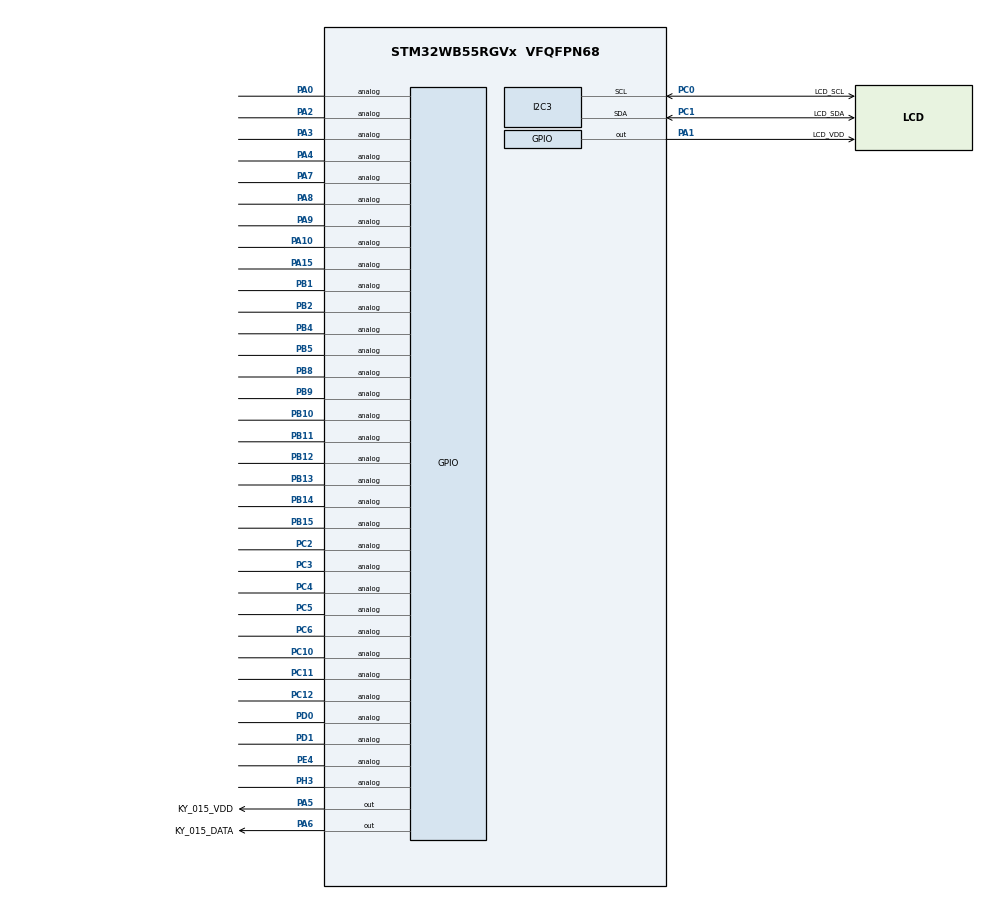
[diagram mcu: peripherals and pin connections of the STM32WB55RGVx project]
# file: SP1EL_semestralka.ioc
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I2C3.Timing=0x00B07CB4
LPTIM1.ClockPrescaler=LPTIM_PRESCALER_DIV32
LPTIM1.UpdateMode=LPTIM_UPDATE_IMMEDIATE
LPTIM2.ClockPrescaler=LPTIM_PRESCALER_DIV32
Mcu.Family=STM32WB
Mcu.Name=STM32WB55RGVx
Mcu.Package=VFQFPN68
NVIC.LPTIM1_IRQn=true\:0\:0\:false\:false\:true\:true\:true\:true
NVIC.PriorityGroup=NVIC_PRIORITYGROUP_4
OSC_IN.GPIO_Label=RCC_OSC_IN
OSC_IN.Signal=RCC_OSC_IN
OSC_OUT.GPIO_Label=RCC_OSC_OUT
OSC_OUT.Signal=RCC_OSC_OUT
P-NUCLEO-WB55-NUCLEO.LD2=true
P-NUCLEO-WB55-NUCLEO.VCP=true
PA0.Signal=GPIO_Analog
PA1.GPIO_Label=LCD_VDD
PA1.Signal=GPIO_Output
PA10.Signal=GPIO_Analog
PA11.GPIO_Label=USB_DM
PA11.Signal=USB_DM
PA12.GPIO_Label=USB_DP
PA12.Signal=USB_DP
PA13.GPIO_Label=JTMS
PA13.Signal=SYS_JTMS-SWDIO
PA14.GPIO_Label=JTCK
PA14.Signal=SYS_JTCK-SWCLK
PA15.Signal=GPIO_Analog
PA2.Signal=GPIO_Analog
PA3.Signal=GPIO_Analog
PA4.Signal=GPIO_Analog
PA5.GPIO_Label=KY_015_VDD
PA5.Signal=GPIO_Output
PA6.GPIO_Label=KY_015_DATA
PA6.GPIO_ModeDefaultOutputPP=GPIO_MODE_OUTPUT_OD
PA6.GPIO_PuPd=GPIO_PULLUP
PA6.Signal=GPIO_Output
PA7.Signal=GPIO_Analog
PA8.Signal=GPIO_Analog
PA9.Signal=GPIO_Analog
PB1.Signal=GPIO_Analog
PB10.Signal=GPIO_Analog
PB11.Signal=GPIO_Analog
PB12.Signal=GPIO_Analog
PB13.Signal=GPIO_Analog
PB14.Signal=GPIO_Analog
PB15.Signal=GPIO_Analog
PB2.Signal=GPIO_Analog
PB3.GPIO_Label=JTDO
PB3.Signal=SYS_JTDO-SWO
PB4.Signal=GPIO_Analog
PB5.Signal=GPIO_Analog
PB8.Signal=GPIO_Analog
PB9.Signal=GPIO_Analog
PC0.GPIO_Label=LCD_SCL
PC0.Mode=I2C
PC0.Signal=I2C3_SCL
PC1.GPIO_Label=LCD_SDA
PC1.Mode=I2C
PC1.Signal=I2C3_SDA
PC10.Signal=GPIO_Analog
PC11.Signal=GPIO_Analog
PC12.Signal=GPIO_Analog
PC13.GPIO_Label=SYS_WKUP2
PC13.Signal=SYS_WKUP2
PC14-OSC32_IN.GPIO_Label=RCC_OSC32_IN
PC14-OSC32_IN.Signal=RCC_OSC32_IN
PC15-OSC32_OUT.GPIO_Label=RCC_OSC32_OUT
PC15-OSC32_OUT.Signal=RCC_OSC32_OUT
PC2.Signal=GPIO_Analog
PC3.Signal=GPIO_Analog
PC4.Signal=GPIO_Analog
PC5.Signal=GPIO_Analog
PC6.Signal=GPIO_Analog
PD0.Signal=GPIO_Analog
PD1.Signal=GPIO_Analog
PE4.Signal=GPIO_Analog
PH3-BOOT0.Signal=GPIO_Analog
ProjectManager.HeapSize=0x200
ProjectManager.StackSize=0x400
ProjectManager.TargetToolchain=CMake
RCC.ADCFreq_Value=128000000
RCC.AHBFreq_Value=32000000
RCC.APB1Freq_Value=32000000
RCC.APB1TimCLKDivider=1
RCC.APB1TimFreq_Value=32000000
RCC.APB2Freq_Value=32000000
RCC.APB2TimFreq_Value=32000000
RCC.APB3Freq_Value=16000000
RCC.CortexFreq_Value=32000000
RCC.HCLKFreq_Value=32000000
RCC.HSE_VALUE=32000000
RCC.HSI48_VALUE=48000000
RCC.HSI_VALUE=16000000
RCC.LPTIM1CLockSelection=RCC_LPTIM1CLKSOURCE_LSI
RCC.LSE_VALUE=32768
RCC.MSIClockRange=RCC_MSIRANGE_10
RCC.SMPSCLockSelection=RCC_SMPSCLKSOURCE_HSI
RCC.SMPSCLockSelectionVirtual=RCC_SMPSCLKSOURCE_HSI
RCC.SMPSCLockSelectionVirtualVirtual=RCC_SMPSCLKSOURCE_HSI
RCC.SMPSDivider=1
RCC.SYSCLKFreq_VALUE=32000000
RCC.USBFreq_Value=128000000
RCC.VCOOutputFreq_Value=256000000
VP_LPTIM1_VS_LPTIM_counterModeInternalClock.Mode=Counts__internal_clock_event_00
VP_LPTIM2_VS_LPTIM_counterModeInternalClock.Mode=Counts__internal_clock_event_00
VP_MEMORYMAP_VS_MEMORYMAP.Mode=CurAppReg
VP_P-NUCLEO-WB55-NUCLEO_VS_BSP_COMMON.Mode=COMMON
board=P-NUCLEO-WB55-NUCLEO

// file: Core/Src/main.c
/* USER CODE BEGIN Header */
/**
 ******************************************************************************
 * @file           : main.c
 * @brief          : Main program body
 ******************************************************************************
 * @attention
 *
 * Copyright (c) 2026 STMicroelectronics.
 * All rights reserved.
 *
 * This software is licensed under terms that can be found in the LICENSE file
 * in the root directory of this software component.
 * If no LICENSE file comes with this software, it is provided AS-IS.
 *
 ******************************************************************************
 */
/* USER CODE END Header */
#include "main.h"

/* USER CODE BEGIN Includes */
#include "KY_015.h"
#include "lcd128_32.h"
#include "stm32wbxx_hal_lptim.h"
#include "stm32wbxx_hal_pwr_ex.h"

/* USER CODE END Includes */

COM_InitTypeDef BspCOMInit;
I2C_HandleTypeDef hi2c3;

LPTIM_HandleTypeDef hlptim1;
LPTIM_HandleTypeDef hlptim2;

/* USER CODE BEGIN PV */
volatile _Bool wakeup_flag = 1; // Flag pro indikaci, že se má číst DHT11 data
                                // (nastavuje se v EXTI handleru)
/* USER CODE END PV */

void SystemClock_Config(void);
void PeriphCommonClock_Config(void);
static void MX_GPIO_Init(void);
static void MX_LPTIM1_Init(void);
static void MX_I2C3_Init(void);
static void MX_LPTIM2_Init(void);

int main(void)
{

    /* MCU Configuration--------------------------------------------------------*/

    /* Reset of all peripherals, Initializes the Flash interface and the Systick. */
    HAL_Init();

    /* Configure the system clock */
    SystemClock_Config();

    /* Configure the peripherals common clocks */
    PeriphCommonClock_Config();

    /* Initialize all configured peripherals */
    MX_GPIO_Init();
    MX_LPTIM1_Init();
    MX_I2C3_Init();
    MX_LPTIM2_Init();
    /* USER CODE BEGIN 2 */
    HAL_LPTIM_Counter_Start_IT(&hlptim1, 30000); // 30s period for LPTIM1
    HAL_LPTIM_Counter_Start(&hlptim2, 0xFFFF);
    LCD_Init(&hi2c3);
    LCD_Clear(&hi2c3);
    /* USER CODE END 2 */

    /* Initialize leds */
    BSP_LED_Init(LED_GREEN);

    /* Initialize COM1 port (115200, 8 bits (7-bit data + 1 stop bit), no parity */
    BspCOMInit.BaudRate = 115200;
    BspCOMInit.WordLength = COM_WORDLENGTH_8B;
    BspCOMInit.StopBits = COM_STOPBITS_1;
    BspCOMInit.Parity = COM_PARITY_NONE;
    BspCOMInit.HwFlowCtl = COM_HWCONTROL_NONE;
    if (BSP_COM_Init(COM1, &BspCOMInit) != BSP_ERROR_NONE)
    {
        Error_Handler();
    }

    /* Infinite loop */
    /* USER CODE BEGIN WHILE */
    printf("COM ready\n");
    KY_015_Init();
    while (1)
    {
        if (wakeup_flag)
        {
            wakeup_flag = 0; // Reset flag
            KY_015_GetData();
            enter_STOP2_mode(); // Vstup do STOP2 režimu, čekáme na další přerušení z LPTIM1
        }
        /* USER CODE END WHILE */

    }
}

void SystemClock_Config(void)
{
    RCC_OscInitTypeDef RCC_OscInitStruct = {0};
    RCC_ClkInitTypeDef RCC_ClkInitStruct = {0};

    /** Configure the main internal regulator output voltage
     */
    __HAL_PWR_VOLTAGESCALING_CONFIG(PWR_REGULATOR_VOLTAGE_SCALE1);

    /** Initializes the RCC Oscillators according to the specified parameters
     * in the RCC_OscInitTypeDef structure.
     */
    RCC_OscInitStruct.OscillatorType = RCC_OSCILLATORTYPE_HSI | RCC_OSCILLATORTYPE_LSI1 | RCC_OSCILLATORTYPE_MSI;
    RCC_OscInitStruct.HSIState = RCC_HSI_ON;
    RCC_OscInitStruct.MSIState = RCC_MSI_ON;
    RCC_OscInitStruct.HSICalibrationValue = RCC_HSICALIBRATION_DEFAULT;
    RCC_OscInitStruct.MSICalibrationValue = RCC_MSICALIBRATION_DEFAULT;
    RCC_OscInitStruct.MSIClockRange = RCC_MSIRANGE_10;
    RCC_OscInitStruct.LSIState = RCC_LSI_ON;
    RCC_OscInitStruct.PLL.PLLState = RCC_PLL_NONE;
    if (HAL_RCC_OscConfig(&RCC_OscInitStruct) != HAL_OK)
    {
        Error_Handler();
    }

    /** Configure the SYSCLKSource, HCLK, PCLK1 and PCLK2 clocks dividers
     */
    RCC_ClkInitStruct.ClockType = RCC_CLOCKTYPE_HCLK4 | RCC_CLOCKTYPE_HCLK2 | RCC_CLOCKTYPE_HCLK |
                                  RCC_CLOCKTYPE_SYSCLK | RCC_CLOCKTYPE_PCLK1 | RCC_CLOCKTYPE_PCLK2;
    RCC_ClkInitStruct.SYSCLKSource = RCC_SYSCLKSOURCE_MSI;
    RCC_ClkInitStruct.AHBCLKDivider = RCC_SYSCLK_DIV1;
    RCC_ClkInitStruct.APB1CLKDivider = RCC_HCLK_DIV1;
    RCC_ClkInitStruct.APB2CLKDivider = RCC_HCLK_DIV1;
    RCC_ClkInitStruct.AHBCLK2Divider = RCC_SYSCLK_DIV1;
    RCC_ClkInitStruct.AHBCLK4Divider = RCC_SYSCLK_DIV1;

    if (HAL_RCC_ClockConfig(&RCC_ClkInitStruct, FLASH_LATENCY_1) != HAL_OK)
    {
        Error_Handler();
    }
}

void PeriphCommonClock_Config(void)
{
    RCC_PeriphCLKInitTypeDef PeriphClkInitStruct = {0};

    /** Initializes the peripherals clock
     */
    PeriphClkInitStruct.PeriphClockSelection = RCC_PERIPHCLK_SMPS;
    PeriphClkInitStruct.SmpsClockSelection = RCC_SMPSCLKSOURCE_HSI;
    PeriphClkInitStruct.SmpsDivSelection = RCC_SMPSCLKDIV_RANGE0;

    if (HAL_RCCEx_PeriphCLKConfig(&PeriphClkInitStruct) != HAL_OK)
    {
        Error_Handler();
    }
}

static void MX_I2C3_Init(void)
{

    hi2c3.Instance = I2C3;
    hi2c3.Init.Timing = 0x00B07CB4;
    hi2c3.Init.OwnAddress1 = 0;
    hi2c3.Init.AddressingMode = I2C_ADDRESSINGMODE_7BIT;
    hi2c3.Init.DualAddressMode = I2C_DUALADDRESS_DISABLE;
    hi2c3.Init.OwnAddress2 = 0;
    hi2c3.Init.OwnAddress2Masks = I2C_OA2_NOMASK;
    hi2c3.Init.GeneralCallMode = I2C_GENERALCALL_DISABLE;
    hi2c3.Init.NoStretchMode = I2C_NOSTRETCH_DISABLE;
    if (HAL_I2C_Init(&hi2c3) != HAL_OK)
    {
        Error_Handler();
    }

    /** Configure Analogue filter
     */
    if (HAL_I2CEx_ConfigAnalogFilter(&hi2c3, I2C_ANALOGFILTER_ENABLE) != HAL_OK)
    {
        Error_Handler();
    }

    /** Configure Digital filter
     */
    if (HAL_I2CEx_ConfigDigitalFilter(&hi2c3, 0) != HAL_OK)
    {
        Error_Handler();
    }
}

static void MX_LPTIM1_Init(void)
{

    hlptim1.Instance = LPTIM1;
    hlptim1.Init.Clock.Source = LPTIM_CLOCKSOURCE_APBCLOCK_LPOSC;
    hlptim1.Init.Clock.Prescaler = LPTIM_PRESCALER_DIV32;
    hlptim1.Init.Trigger.Source = LPTIM_TRIGSOURCE_SOFTWARE;
    hlptim1.Init.OutputPolarity = LPTIM_OUTPUTPOLARITY_HIGH;
    hlptim1.Init.UpdateMode = LPTIM_UPDATE_IMMEDIATE;
    hlptim1.Init.CounterSource = LPTIM_COUNTERSOURCE_INTERNAL;
    hlptim1.Init.Input1Source = LPTIM_INPUT1SOURCE_GPIO;
    hlptim1.Init.Input2Source = LPTIM_INPUT2SOURCE_GPIO;
    if (HAL_LPTIM_Init(&hlptim1) != HAL_OK)
    {
        Error_Handler();
    }
}

static void MX_LPTIM2_Init(void)
{

    hlptim2.Instance = LPTIM2;
    hlptim2.Init.Clock.Source = LPTIM_CLOCKSOURCE_APBCLOCK_LPOSC;
    hlptim2.Init.Clock.Prescaler = LPTIM_PRESCALER_DIV32;
    hlptim2.Init.Trigger.Source = LPTIM_TRIGSOURCE_SOFTWARE;
    hlptim2.Init.OutputPolarity = LPTIM_OUTPUTPOLARITY_HIGH;
    hlptim2.Init.UpdateMode = LPTIM_UPDATE_IMMEDIATE;
    hlptim2.Init.CounterSource = LPTIM_COUNTERSOURCE_INTERNAL;
    hlptim2.Init.Input1Source = LPTIM_INPUT1SOURCE_GPIO;
    hlptim2.Init.Input2Source = LPTIM_INPUT2SOURCE_GPIO;
    if (HAL_LPTIM_Init(&hlptim2) != HAL_OK)
    {
        Error_Handler();
    }
}

static void MX_GPIO_Init(void)
{
    GPIO_InitTypeDef GPIO_InitStruct = {0};

    /* GPIO Ports Clock Enable */
    __HAL_RCC_GPIOC_CLK_ENABLE();
    __HAL_RCC_GPIOH_CLK_ENABLE();
    __HAL_RCC_GPIOB_CLK_ENABLE();
    __HAL_RCC_GPIOA_CLK_ENABLE();
    __HAL_RCC_GPIOE_CLK_ENABLE();
    __HAL_RCC_GPIOD_CLK_ENABLE();

    /*Configure GPIO pin Output Level */
    HAL_GPIO_WritePin(GPIOA, LCD_VDD_Pin | KY_015_VDD_Pin | KY_015_DATA_Pin, GPIO_PIN_RESET);

    /*Configure GPIO pin : PH3 */
    GPIO_InitStruct.Pin = GPIO_PIN_3;
    GPIO_InitStruct.Mode = GPIO_MODE_ANALOG;
    GPIO_InitStruct.Pull = GPIO_NOPULL;
    HAL_GPIO_Init(GPIOH, &GPIO_InitStruct);

    /*Configure GPIO pins : PB8 PB9 PB2 PB10
                             PB11 PB1 PB12 PB13
                             PB14 PB15 PB4 PB5 */
    GPIO_InitStruct.Pin = GPIO_PIN_8 | GPIO_PIN_9 | GPIO_PIN_2 | GPIO_PIN_10 | GPIO_PIN_11 | GPIO_PIN_1 | GPIO_PIN_12 |
                          GPIO_PIN_13 | GPIO_PIN_14 | GPIO_PIN_15 | GPIO_PIN_4 | GPIO_PIN_5;
    GPIO_InitStruct.Mode = GPIO_MODE_ANALOG;
    GPIO_InitStruct.Pull = GPIO_NOPULL;
    HAL_GPIO_Init(GPIOB, &GPIO_InitStruct);

    /*Configure GPIO pins : PC2 PC3 PC4 PC5
                             PC6 PC10 PC11 PC12 */
    GPIO_InitStruct.Pin =
        GPIO_PIN_2 | GPIO_PIN_3 | GPIO_PIN_4 | GPIO_PIN_5 | GPIO_PIN_6 | GPIO_PIN_10 | GPIO_PIN_11 | GPIO_PIN_12;
    GPIO_InitStruct.Mode = GPIO_MODE_ANALOG;
    GPIO_InitStruct.Pull = GPIO_NOPULL;
    HAL_GPIO_Init(GPIOC, &GPIO_InitStruct);

    /*Configure GPIO pins : PA0 PA2 PA3 PA4
                             PA7 PA8 PA9 PA10
                             PA15 */
    GPIO_InitStruct.Pin = GPIO_PIN_0 | GPIO_PIN_2 | GPIO_PIN_3 | GPIO_PIN_4 | GPIO_PIN_7 | GPIO_PIN_8 | GPIO_PIN_9 |
                          GPIO_PIN_10 | GPIO_PIN_15;
    GPIO_InitStruct.Mode = GPIO_MODE_ANALOG;
    GPIO_InitStruct.Pull = GPIO_NOPULL;
    HAL_GPIO_Init(GPIOA, &GPIO_InitStruct);

    /*Configure GPIO pins : LCD_VDD_Pin KY_015_VDD_Pin */
    GPIO_InitStruct.Pin = LCD_VDD_Pin | KY_015_VDD_Pin;
    GPIO_InitStruct.Mode = GPIO_MODE_OUTPUT_PP;
    GPIO_InitStruct.Pull = GPIO_NOPULL;
    GPIO_InitStruct.Speed = GPIO_SPEED_FREQ_LOW;
    HAL_GPIO_Init(GPIOA, &GPIO_InitStruct);

    /*Configure GPIO pin : KY_015_DATA_Pin */
    GPIO_InitStruct.Pin = KY_015_DATA_Pin;
    GPIO_InitStruct.Mode = GPIO_MODE_OUTPUT_OD;
    GPIO_InitStruct.Pull = GPIO_PULLUP;
    GPIO_InitStruct.Speed = GPIO_SPEED_FREQ_LOW;
    HAL_GPIO_Init(KY_015_DATA_GPIO_Port, &GPIO_InitStruct);

    /*Configure GPIO pin : PE4 */
    GPIO_InitStruct.Pin = GPIO_PIN_4;
    GPIO_InitStruct.Mode = GPIO_MODE_ANALOG;
    GPIO_InitStruct.Pull = GPIO_NOPULL;
    HAL_GPIO_Init(GPIOE, &GPIO_InitStruct);

    /*Configure GPIO pins : USB_DM_Pin USB_DP_Pin */
    GPIO_InitStruct.Pin = USB_DM_Pin | USB_DP_Pin;
    GPIO_InitStruct.Mode = GPIO_MODE_AF_PP;
    GPIO_InitStruct.Pull = GPIO_NOPULL;
    GPIO_InitStruct.Speed = GPIO_SPEED_FREQ_LOW;
    GPIO_InitStruct.Alternate = GPIO_AF10_USB;
    HAL_GPIO_Init(GPIOA, &GPIO_InitStruct);

    /*Configure GPIO pins : PD0 PD1 */
    GPIO_InitStruct.Pin = GPIO_PIN_0 | GPIO_PIN_1;
    GPIO_InitStruct.Mode = GPIO_MODE_ANALOG;
    GPIO_InitStruct.Pull = GPIO_NOPULL;
    HAL_GPIO_Init(GPIOD, &GPIO_InitStruct);

}

/* USER CODE BEGIN 4 */
void HAL_LPTIM_AutoReloadMatchCallback(LPTIM_HandleTypeDef *hlptim) // Obsluha přerušení pro LPTIM1
{
    if (hlptim->Instance == LPTIM1)
    {
        // Tato funkce bude volána každých 30 sekund
        wakeup_flag = 1; // Nastavíme flag, že je čas číst data z DHT11
    }
}
/* USER CODE END 4 */

void Error_Handler(void)
{
    /* USER CODE BEGIN Error_Handler_Debug */
    /* User can add his own implementation to report the HAL error return state
     */
    __disable_irq();
    while (1)
    {
    }
    /* USER CODE END Error_Handler_Debug */
}
#ifdef USE_FULL_ASSERT
/**
 * @brief  Reports the name of the source file and the source line number
 *         where the assert_param error has occurred.
 * @param  file: pointer to the source file name
 * @param  line: assert_param error line source number
 * @retval None
 */
void assert_failed(uint8_t *file, uint32_t line)
{
    /* USER CODE BEGIN 6 */
    /* User can add his own implementation to report the file name and line
       number, ex: printf("Wrong parameters value: file %s on line %d\r\n",
       file, line) */
    /* USER CODE END 6 */
}
#endif /* USE_FULL_ASSERT */
